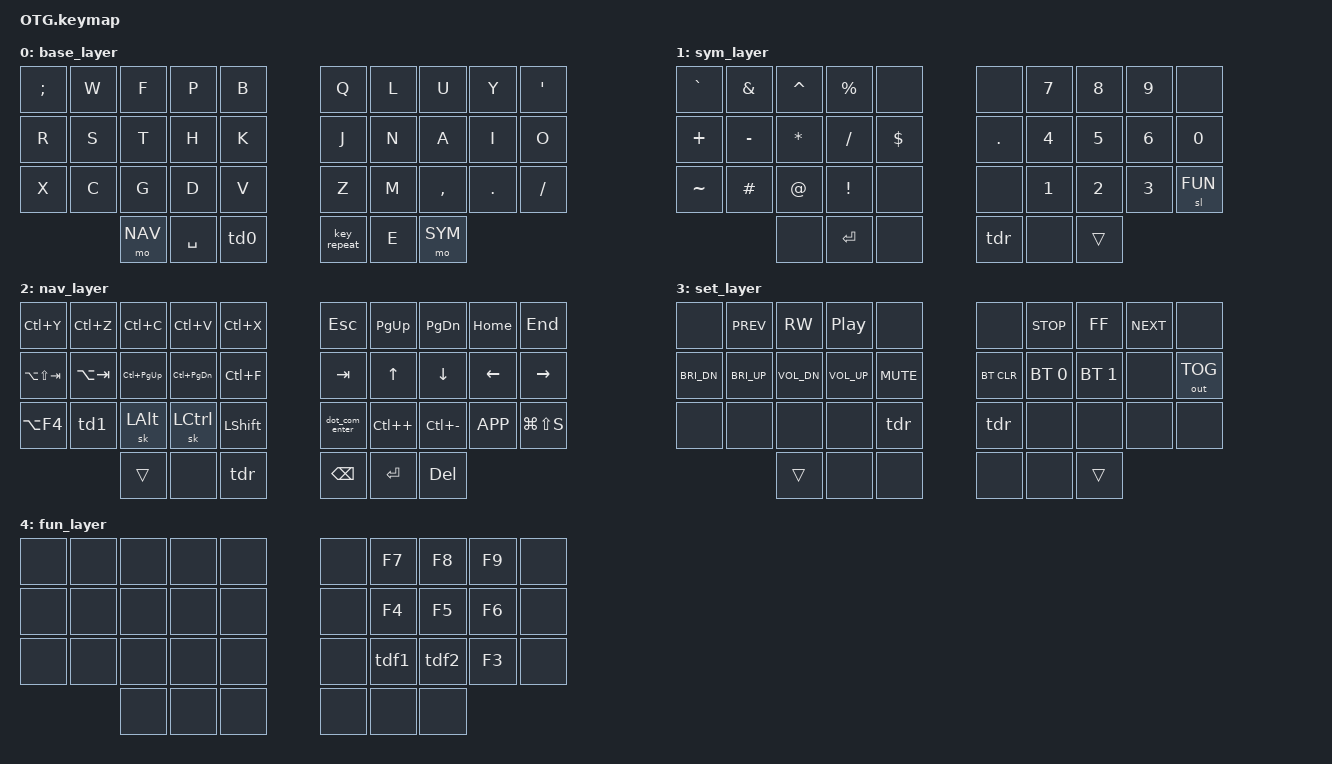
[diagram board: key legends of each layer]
/*
 * Copyright (c) 2021 The ZMK Contributors
 *
 * SPDX-License-Identifier: MIT
 */

#include <behaviors.dtsi>
#include <dt-bindings/zmk/keys.h>
#include <dt-bindings/zmk/bt.h>
#include <dt-bindings/zmk/outputs.h>
#define DEF 0
#define SYM 1
#define NAV 2
#define SET 3
#define FUN 4

&caps_word {
    continue-list = <UNDERSCORE MINUS BACKSPACE DELETE>;
};

/ {
	combos {
		compatible = "zmk,combos";
		combo_lpar {
		    timeout-ms = <50>;
		    key-positions = <3 13>;
		    bindings = <&kp LPAR>;
		    layers = <DEF>;
		};

		combo_rpar {
		    timeout-ms = <50>;
		    key-positions = <6 16>;
		    bindings = <&kp RPAR>;
		    layers = <DEF>;
		};

		combo_lbrc {
		    timeout-ms = <50>;
		    key-positions = <2 12>;
		    bindings = <&kp LBRC>;
		    layers = <DEF>;
		};

		combo_rbrc {
		    timeout-ms = <50>;
		    key-positions = <7 17>;
		    bindings = <&kp RBRC>;
		    layers = <DEF>;
		};

		combo_lbkt {
		    timeout-ms = <50>;
		    key-positions = <1 11>;
		    bindings = <&kp LBKT>;
		    layers = <DEF>;
		};

		combo_rbkt {
		    timeout-ms = <50>;
		    key-positions = <8 18>;
		    bindings = <&kp RBKT>;
		    layers = <DEF>;
		};

		combo_minus {
		    timeout-ms = <50>;
		    key-positions = <0 10>;
		    bindings = <&kp MINUS>;
		    layers = <DEF>;
		};

		combo_equal {
		    timeout-ms = <50>;
		    key-positions = <9 19>;
		    bindings = <&kp EQUAL>;
		    layers = <DEF>;
		};

		combo_backslash {
		    timeout-ms = <50>;
		    key-positions = <5 15>;
		    bindings = <&kp BSLH>;
		    layers = <DEF>;
		};

		combo_close_tab {
		    timeout-ms = <50>;
		    key-positions = <10 11>;
		    bindings = <&kp LC(W)>;
		    layers = <NAV>;
		};

		combo_reopen_tab {
		    timeout-ms = <50>;
		    key-positions = <11 12>;
		    bindings = <&kp LC(LS(T))>;
		    layers = <NAV>;
		};

		combo_open_tab {
		    timeout-ms = <50>;
		    key-positions = <12 13>;
		    bindings = <&kp LC(T)>;
		    layers = <NAV>;
		};

		combo_select_all {
		    timeout-ms = <50>;
		    key-positions = <2 4>;
		    bindings = <&kp LC(A)>;
		    layers = <NAV>;
		};

		combo_setting {
		    timeout-ms = <50>;
		    key-positions = <30 35>;
		    bindings = <&mo SET>;
		};

		combo_f10 {
		    timeout-ms = <100>;
		    key-positions = <19 26>;
		    bindings = <&kp F10>;
		    layers = <FUN>;
		};

		combo_f12 {
		    timeout-ms = <100>;
		    key-positions = <26 27>;
		    bindings = <&kp F12>;
		    layers = <FUN>;
		};

		combo_f13 {
		    timeout-ms = <100>;
		    key-positions = <26 28>;
		    bindings = <&kp F13>;
		    layers = <FUN>;
		};

		combo_f14 {
		    timeout-ms = <100>;
		    key-positions = <16 26>;
		    bindings = <&kp F14>;
		    layers = <FUN>;
		};

		combo_f15 {
		    timeout-ms = <100>;
		    key-positions = <17 26>;
		    bindings = <&kp F15>;
		    layers = <FUN>;
		};

		combo_f16 {
		    timeout-ms = <100>;
		    key-positions = <18 26>;
		    bindings = <&kp F16>;
		    layers = <FUN>;
		};


		combo_f17 {
		    timeout-ms = <100>;
		    key-positions = <6 26>;
		    bindings = <&kp F17>;
		    layers = <FUN>;
		};

		combo_f18 {
		    timeout-ms = <100>;
		    key-positions = <7 26>;
		    bindings = <&kp F18>;
		    layers = <FUN>;
		};

		combo_f19 {
		    timeout-ms = <100>;
		    key-positions = <8 26>;
		    bindings = <&kp F19>;
		    layers = <FUN>;
		};

		combo_f20 {
		    timeout-ms = <100>;
		    key-positions = <19 27>;
		    bindings = <&kp F20>;
		    layers = <FUN>;
		};

		combo_f21 {
		    timeout-ms = <100>;
		    key-positions = <26 27>;
		    bindings = <&kp F21>;
		    layers = <FUN>;
		};

		combo_f23 {
		    timeout-ms = <100>;
		    key-positions = <27 28>;
		    bindings = <&kp F23>;
		    layers = <FUN>;
		};

		combo_f24 {
		    timeout-ms = <100>;
		    key-positions = <16 27>;
		    bindings = <&kp F24>;
		    layers = <FUN>;
		};
	    };
	behaviors {
		   skq: sticky_key_quick_release {
						  compatible = "zmk,behavior-sticky-key";
						  label = "STICKY_KEY_QUICK_RELEASE";
						  #binding-cells = <1>;
						  bindings = <&kp>;
						  release-after-ms = <1000>;
						  quick-release;
						  ignore-modifiers;
						 };
		   td0: tap_dance_0 {
				     compatible = "zmk,behavior-tap-dance";
				     label = "TAP_DANCE_0";
				     #binding-cells = <0>;
				     tapping-term-ms = <200>;
				     bindings = <&skq LSHFT>, <&caps_word>;
				    };
		   td1: tap_dance_1 {
				     compatible = "zmk,behavior-tap-dance";
				     label = "TAP_DANCE_1";
				     #binding-cells = <0>;
				     tapping-term-ms = <200>;
				     bindings = <&kp LGUI>, <&sk LGUI>;
				    };   
		   tdf1: tap_dance_f1 {
				     compatible = "zmk,behavior-tap-dance";
				     label = "TAP_DANCE_F1";
				     #binding-cells = <0>;
				     tapping-term-ms = <500>;
				     bindings = <&kp F1>, <&kp F11>;
				    };
		   tdf2: tap_dance_f2 {
				     compatible = "zmk,behavior-tap-dance";
				     label = "TAP_DANCE_F2";
				     #binding-cells = <0>;
				     tapping-term-ms = <500>;
				     bindings = <&kp F2>, <&kp F22>;
				    };
		   tdr: tap_dance_r {
				     compatible = "zmk,behavior-tap-dance";
				     label = "TAP_DANCE_R";
				     #binding-cells = <0>;
				     tapping-term-ms = <200>;
				     bindings = <&sys_reset>, <&bootloader>;
				    };
		  };
	macros {
        	dot_com_enter: dot_com_enter {
            				label = "ZM_dot_com_enter";
            				compatible = "zmk,behavior-macro";
            				#binding-cells = <0>;
            				bindings
                				= <&kp DOT &kp C &kp O &kp M &kp RET>
						;
					};
    		};
	keymap {
		compatible = "zmk,keymap";

		base_layer {
			bindings = <
				&kp SEMI	&kp W	     &kp F	     &kp P	  &kp B	      &kp Q     &kp L	  &kp U     &kp Y     &kp APOS
				&kp R		&kp S	     &kp T	     &kp H	  &kp K	      &kp J     &kp N	  &kp A     &kp I     &kp O
				&kp X		&kp C	     &kp G	     &kp D	  &kp V	      &kp Z     &kp M	  &kp COMMA &kp DOT   &kp SLASH
				        	&mo NAV      &kp SPC	     &td0	  &key_repeat &kp E	&mo SYM
			>;
		};

		sym_layer {
			bindings = <
				&kp GRAVE	&kp AMPS     &kp CARET	     &kp PRCNT	  &none	      &none	&kp N7	  &kp N8    &kp N9    &none
				&kp PLUS	&kp MINUS    &kp STAR        &kp SLASH	  &kp DLLR    &kp DOT	&kp N4	  &kp N5    &kp N6    &kp N0
				&kp TILDE	&kp HASH     &kp AT    	     &kp EXCL	  &none	      &none	&kp N1	  &kp N2    &kp N3    &sl FUN
				        	&none	     &kp ENTER	     &none	  &tdr	      &none	&trans
			>;
		};
		nav_layer {
			bindings = <
				&kp LC(Y)       &kp LC(Z)    &kp LC(C)	   &kp LC(V)	 &kp LC(X)   &kp ESC	    &kp PG_UP    &kp PG_DN     &kp HOME  &kp END
				&kp LA(LS(TAB)) &kp LA(TAB)  &kp LC(PG_UP) &kp LC(PG_DN) &kp LC(F)   &kp TAB	    &kp UP	 &kp DOWN      &kp LEFT	 &kp RIGHT
				&kp LA(F4)      &td1	     &sk LALT	   &sk LCTRL	 &kp LSHFT   &dot_com_enter &kp LC(PLUS) &kp LC(MINUS) &kp K_APP &kp LG(LS(S))
				                &trans       &none         &tdr		 &kp BSPC    &kp ENTER	    &kp DEL
			>;
		};
		set_layer {
			bindings = <
				&none		&kp C_PREV   &kp C_RW	   &kp C_PP	 &none	     &none	    &kp C_STOP	 &kp C_FF      &kp C_NEXT &none
				&kp C_BRI_DN    &kp C_BRI_UP &kp C_VOL_DN  &kp C_VOL_UP	 &kp C_MUTE  &bt BT_CLR	    &bt BT_SEL 0 &bt BT_SEL 1  &none	  &out OUT_TOG
				&none		&none	     &none	   &none	 &tdr	     &tdr	    &none	 &none	       &none	  &none
				                &trans	     &none         &none	 &none       &none	    &trans
			>;
		};
		fun_layer {
			bindings = <
				&none		&none	     &none	   &none	 &none	     &none	    &kp F7	 &kp F8	       &kp F9    &none	
				&none		&none	     &none	   &none	 &none	     &none	    &kp F4	 &kp F5	       &kp F6    &none
				&none		&none	     &none	   &none	 &none	     &none	    &tdf1	 &tdf2	       &kp F3    &none
				                &none	     &none         &none	 &none       &none	    &none
			>;
		};

	};
};
